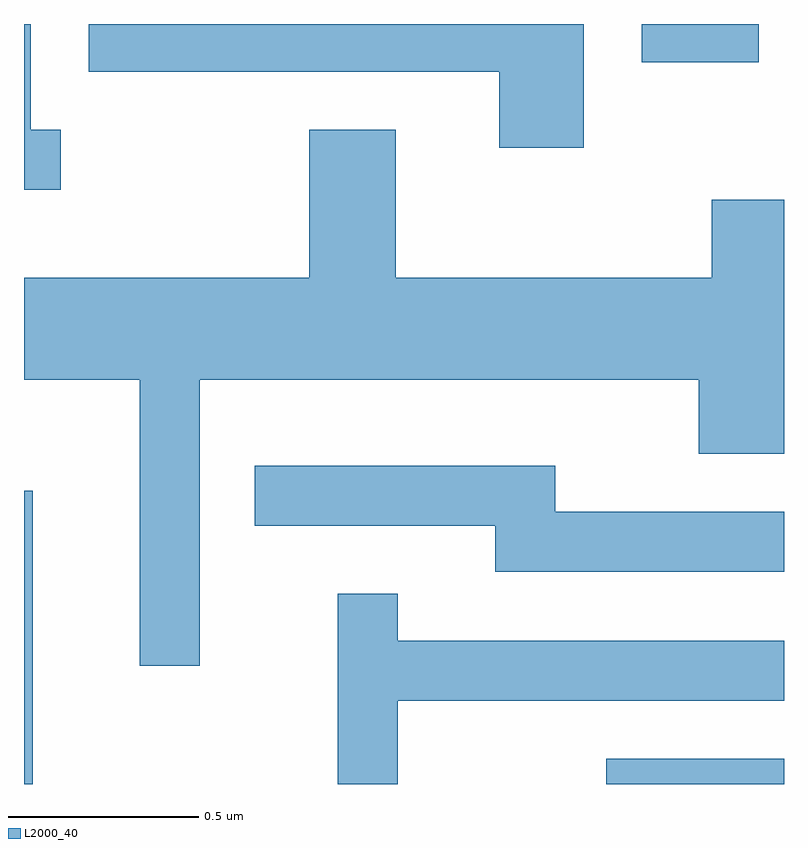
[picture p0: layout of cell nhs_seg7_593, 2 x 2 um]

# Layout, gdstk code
import gdstk
lib = gdstk.Library(unit=1e-6, precision=1e-09)
def R(c, l, rs):  # rectangles x0, y0, x1, y1
    for r in rs: c.add(gdstk.rectangle(r[:2], r[2:], *l))
def P(c, l, *ps):  # polygons
    for p in ps: c.add(gdstk.Polygon(p, *l))
L2000_40 = (2000, 40)

nhs_seg7_593 = lib.new_cell('nhs_seg7_593')
R(nhs_seg7_593, L2000_40, [(189.611,1713.252,189.634,1714.024), (191.143,1713.252,191.611,1713.319), (191.236,1715.151,191.544,1715.252)])
P(nhs_seg7_593, L2000_40, [(191.084,1715.252),(189.781,1715.252),(189.781,1715.126),(190.861,1715.126),(190.861,1714.926),(191.084,1714.926)],
  [(189.708,1714.974),(189.629,1714.974),(189.629,1715.252),(189.611,1715.252),(189.611,1714.816),(189.708,1714.816)],
  [(190.074,1714.316),(191.386,1714.316),(191.386,1714.121),(191.611,1714.121),(191.611,1714.789),(191.421,1714.789),(191.421,1714.584),(190.589,1714.584),(190.589,1714.974),(190.361,1714.974),(190.361,1714.584),(189.611,1714.584),(189.611,1714.316),(189.916,1714.316),(189.916,1713.563),(190.074,1713.563)],
  [(191.611,1713.969),(191.009,1713.969),(191.009,1714.089),(190.218,1714.089),(190.218,1713.931),(190.851,1713.931),(190.851,1713.811),(191.611,1713.811)],
  [(190.594,1713.471),(191.611,1713.471),(191.611,1713.629),(190.594,1713.629),(190.594,1713.753),(190.436,1713.753),(190.436,1713.252),(190.594,1713.252)])

lib.write_gds('nhs_seg7_593.gds')
